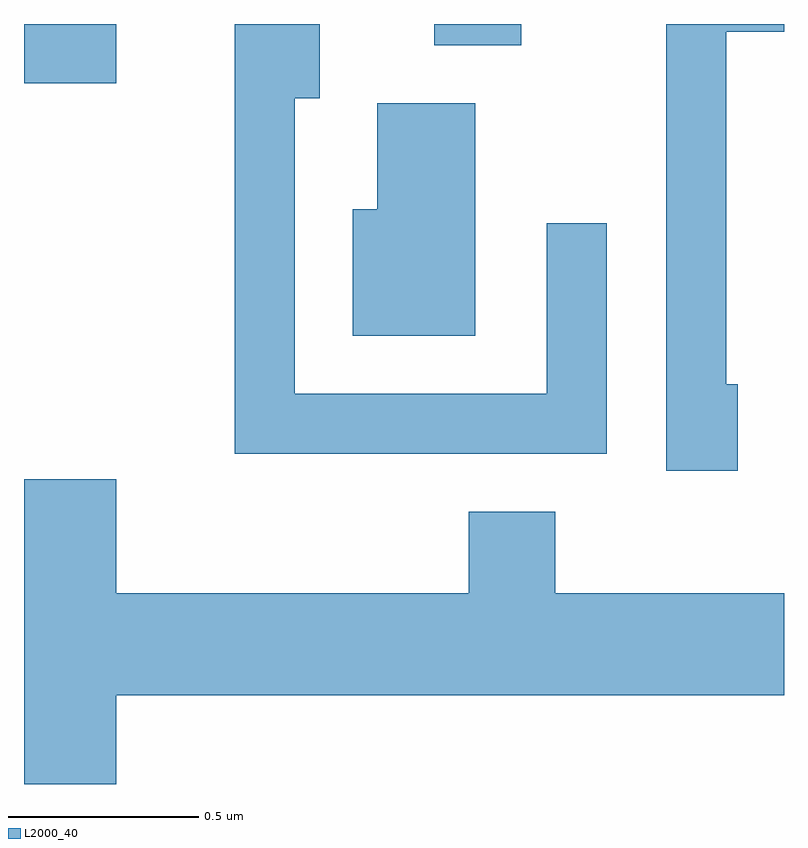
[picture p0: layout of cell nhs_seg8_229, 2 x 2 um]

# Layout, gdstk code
import gdstk
lib = gdstk.Library(unit=1e-6, precision=1e-09)
def R(c, l, rs):  # rectangles x0, y0, x1, y1
    for r in rs: c.add(gdstk.rectangle(r[:2], r[2:], *l))
def P(c, l, *ps):  # polygons
    for p in ps: c.add(gdstk.Polygon(p, *l))
L2000_40 = (2000, 40)

nhs_seg8_229 = lib.new_cell('nhs_seg8_229')
R(nhs_seg8_229, L2000_40, [(186.611,1900.186,186.854,1900.342), (187.691,1900.286,187.919,1900.342)])
P(nhs_seg8_229, L2000_40, [(188.144,1899.818),(187.986,1899.818),(187.986,1899.369),(187.324,1899.369),(187.324,1900.146),(187.389,1900.146),(187.389,1900.342),(187.166,1900.342),(187.166,1899.211),(188.144,1899.211)],
  [(188.489,1899.394),(188.459,1899.394),(188.459,1900.321),(188.611,1900.321),(188.611,1900.342),(188.301,1900.342),(188.301,1899.166),(188.489,1899.166)],
  [(187.799,1900.134),(187.541,1900.134),(187.541,1899.854),(187.476,1899.854),(187.476,1899.521),(187.799,1899.521)],
  [(186.854,1898.576),(188.611,1898.576),(188.611,1898.844),(188.009,1898.844),(188.009,1899.059),(187.781,1899.059),(187.781,1898.844),(186.854,1898.844),(186.854,1899.144),(186.611,1899.144),(186.611,1898.342),(186.854,1898.342)])

lib.write_gds('nhs_seg8_229.gds')
